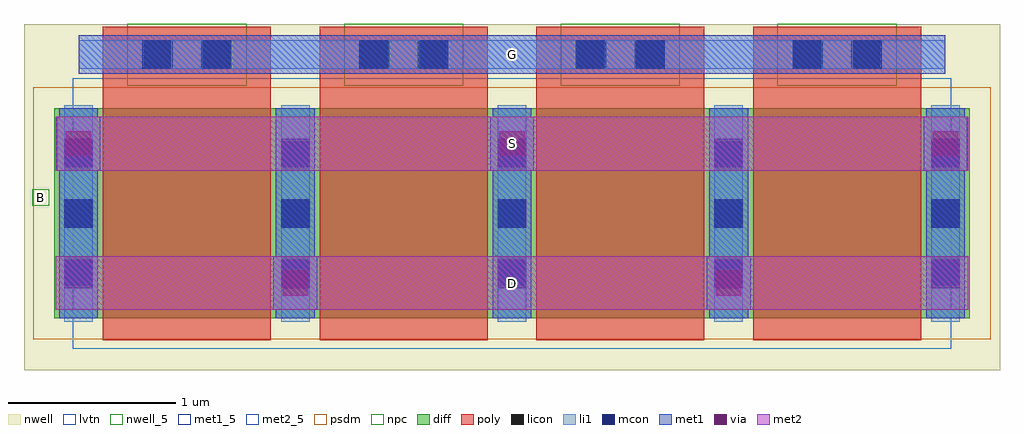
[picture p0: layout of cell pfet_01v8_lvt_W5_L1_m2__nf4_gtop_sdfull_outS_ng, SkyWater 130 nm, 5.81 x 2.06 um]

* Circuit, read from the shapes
.subckt pfet_01v8_lvt_W5_L1_m2__nf4_gtop_sdfull_outS_ng B D G S
XM1 D G S B sky130_fd_pr__pfet_01v8_lvt w=1.25 l=1 m=4
.ends

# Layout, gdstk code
import gdstk
lib = gdstk.Library(unit=1e-6, precision=1e-09)
def R(c, l, rs):  # rectangles x0, y0, x1, y1
    for r in rs: c.add(gdstk.rectangle(r[:2], r[2:], *l))
def A(c, l, x, y, w, h, nx, ny, dx, dy):  # array of equal rectangles
    R(c, l, [(x+i*dx, y+j*dy, x+i*dx+w, y+j*dy+h) for i in range(nx) for j in range(ny)])
nwell_5 = (64, 5)
nwell = (64, 20)
diff = (65, 20)
poly = (66, 20)
licon = (66, 44)
li1 = (67, 20)
mcon = (67, 44)
met1_5 = (68, 5)
met1 = (68, 20)
via = (68, 44)
met2_5 = (69, 5)
met2 = (69, 20)
psdm = (94, 20)
npc = (95, 20)
lvtn = (125, 44)

sky130_fd_pr__pfet_01v8_ = lib.new_cell('sky130_fd_pr__pfet_01v8_lvt_2UKYQY')
R(sky130_fd_pr__pfet_01v8_, nwell, [(-2.905,-1.115,2.905,0.945)])
R(sky130_fd_pr__pfet_01v8_, diff, [(-2.725,-0.805,2.725,0.445)])
A(sky130_fd_pr__pfet_01v8_, poly, -2.435, -0.935, 1, 1.865, 4, 1, 1.29, 0)
A(sky130_fd_pr__pfet_01v8_, licon, -2.665, -0.605, 0.17, 0.17, 5, 3, 1.29, 0.34)
R(sky130_fd_pr__pfet_01v8_, licon, [(-2.19,0.68,-2.02,0.85), (-1.85,0.68,-1.68,0.85), (-0.9,0.68,-0.73,0.85), (-0.56,0.68,-0.39,0.85), (0.39,0.68,0.56,0.85), (0.73,0.68,0.9,0.85), (1.68,0.68,1.85,0.85), (2.02,0.68,2.19,0.85)])
A(sky130_fd_pr__pfet_01v8_, li1, -2.665, -0.825, 0.17, 1.29, 5, 1, 1.29, 0)
R(sky130_fd_pr__pfet_01v8_, li1, [(-2.58,0.68,2.58,0.85)])
A(sky130_fd_pr__pfet_01v8_, mcon, -2.665, -0.625, 0.17, 0.17, 5, 3, 1.29, 0.36)
R(sky130_fd_pr__pfet_01v8_, mcon, [(-2.2,0.68,-2.03,0.85), (-1.84,0.68,-1.67,0.85), (-0.91,0.68,-0.74,0.85), (-0.55,0.68,-0.38,0.85), (0.38,0.68,0.55,0.85), (0.74,0.68,0.91,0.85), (1.67,0.68,1.84,0.85), (2.03,0.68,2.2,0.85)])
A(sky130_fd_pr__pfet_01v8_, met1, -2.695, -0.805, 0.23, 1.25, 5, 1, 1.29, 0)
A(sky130_fd_pr__pfet_01v8_, met1, -2.415, 0.65, 0.96, 0.03, 4, 2, 1.29, 0.2)
R(sky130_fd_pr__pfet_01v8_, met1, [(-2.58,0.68,2.58,0.85)])
R(sky130_fd_pr__pfet_01v8_, psdm, [(-2.85,-0.93,2.85,0.57)])
A(sky130_fd_pr__pfet_01v8_, npc, -2.29, 0.58, 0.71, 0.37, 4, 1, 1.29, 0)
R(sky130_fd_pr__pfet_01v8_, lvtn, [(-2.615,-0.985,2.615,0.625)])
sky130_fd_pr__pfet_01v8_.add(gdstk.Label('D0', (-2.58,-0.18), layer=67, texttype=5))
sky130_fd_pr__pfet_01v8_.add(gdstk.Label('G', (1.935,0.765), layer=67, texttype=5))
sky130_fd_pr__pfet_01v8_.add(gdstk.Label('G', (0.645,0.765), layer=67, texttype=5))
sky130_fd_pr__pfet_01v8_.add(gdstk.Label('G', (-0.645,0.765), layer=67, texttype=5))
sky130_fd_pr__pfet_01v8_.add(gdstk.Label('G', (-1.935,0.765), layer=67, texttype=5))
sky130_fd_pr__pfet_01v8_.add(gdstk.Label('S1', (-1.29,-0.18), layer=67, texttype=5))
sky130_fd_pr__pfet_01v8_.add(gdstk.Label('D2', (0,-0.18), layer=67, texttype=5))
sky130_fd_pr__pfet_01v8_.add(gdstk.Label('S3', (1.29,-0.18), layer=67, texttype=5))

pfet_01v8_lvt_w5_l1_m2__ = lib.new_cell('pfet_01v8_lvt_W5_L1_m2__nf4_gtop_sdfull_outS_ng')
R(pfet_01v8_lvt_w5_l1_m2__, nwell_5, [(0.05,0.98,0.15,1.08)])
R(pfet_01v8_lvt_w5_l1_m2__, nwell, [(0.05,0.98,0.15,1.08)])
R(pfet_01v8_lvt_w5_l1_m2__, met1_5, [(0.325,1.765,5.485,1.995)])
A(pfet_01v8_lvt_w5_l1_m2__, met1, 0.195, 1.19, 0.26, 0.32, 3, 1, 2.58, 0)
R(pfet_01v8_lvt_w5_l1_m2__, met1, [(1.485,0.36,1.745,0.68), (4.065,0.36,4.325,0.68), (0.325,1.765,5.485,1.995)])
A(pfet_01v8_lvt_w5_l1_m2__, via, 0.25, 1.275, 0.15, 0.15, 3, 1, 2.58, 0)
R(pfet_01v8_lvt_w5_l1_m2__, via, [(1.54,0.445,1.69,0.595), (4.12,0.445,4.27,0.595)])
R(pfet_01v8_lvt_w5_l1_m2__, met2_5, [(0.19,0.36,5.62,0.68), (0.19,1.19,5.62,1.51)])
R(pfet_01v8_lvt_w5_l1_m2__, met2, [(0.19,0.36,5.62,0.68), (0.19,1.19,5.62,1.51)])
pfet_01v8_lvt_w5_l1_m2__.add(gdstk.Reference(sky130_fd_pr__pfet_01v8_, (2.905,1.115)))
pfet_01v8_lvt_w5_l1_m2__.add(gdstk.Label('S', (2.905,1.35), layer=69, texttype=5))
pfet_01v8_lvt_w5_l1_m2__.add(gdstk.Label('D', (2.905,0.52), layer=69, texttype=5))
pfet_01v8_lvt_w5_l1_m2__.add(gdstk.Label('G', (2.905,1.88), layer=68, texttype=5))
pfet_01v8_lvt_w5_l1_m2__.add(gdstk.Label('B', (0.1,1.03), layer=64, texttype=5))

lib.write_gds('pfet_01v8_lvt_W5_L1_m2__nf4_gtop_sdfull_outS_ng.gds')
